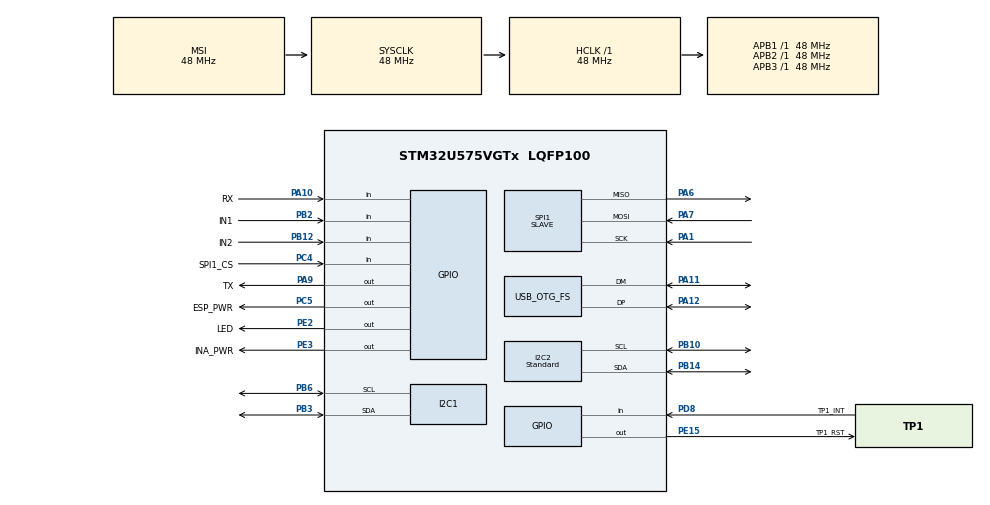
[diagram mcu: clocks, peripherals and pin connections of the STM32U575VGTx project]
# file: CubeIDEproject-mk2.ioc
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CORTEX_M33_NS.userName=CORTEX_M33
I2C1.Timing=0x20303E5D
I2C2.Analog_Filter=I2C_ANALOGFILTER_ENABLE
I2C2.I2C_Speed_Mode=I2C_Standard
I2C2.Timing=0x20303E5D
Mcu.Family=STM32U5
Mcu.Name=STM32U575VGTx
Mcu.Package=LQFP100
NVIC.OTG_FS_IRQn=true\:0\:0\:false\:false\:true\:true\:true\:true
NVIC.PriorityGroup=NVIC_PRIORITYGROUP_4
PA1.GPIO_Speed=GPIO_SPEED_FREQ_HIGH
PA1.Mode=Full_Duplex_Slave
PA1.Signal=SPI1_SCK
PA10.GPIO_Label=RX
PA10.GPIO_PuPd=GPIO_PULLDOWN
PA10.Signal=GPIO_Input
PA11.Mode=Device_Only
PA11.Signal=USB_OTG_FS_DM
PA12.Mode=Device_Only
PA12.Signal=USB_OTG_FS_DP
PA6.GPIO_Speed=GPIO_SPEED_FREQ_HIGH
PA6.Mode=Full_Duplex_Slave
PA6.Signal=SPI1_MISO
PA7.GPIO_Speed=GPIO_SPEED_FREQ_HIGH
PA7.Mode=Full_Duplex_Slave
PA7.Signal=SPI1_MOSI
PA9.GPIO_Label=TX
PA9.Signal=GPIO_Output
PB10.Mode=I2C
PB10.Signal=I2C2_SCL
PB12.GPIO_Label=IN2
PB12.GPIO_PuPd=GPIO_PULLUP
PB12.Signal=GPIO_Input
PB14.Mode=I2C
PB14.Signal=I2C2_SDA
PB2.GPIO_Label=IN1
PB2.GPIO_PuPd=GPIO_PULLUP
PB2.Signal=GPIO_Input
PB3\ (JTDO/TRACESWO).Mode=I2C
PB3\ (JTDO/TRACESWO).Signal=I2C1_SDA
PB6.Mode=I2C
PB6.Signal=I2C1_SCL
PC4.GPIO_Label=SPI1_CS
PC4.Signal=GPIO_Input
PC5.GPIO_Label=ESP_PWR
PC5.PinState=GPIO_PIN_RESET
PC5.Signal=GPIO_Output
PD8.GPIO_Label=TP1_INT
PD8.Signal=GPIO_Input
PE15.GPIO_Label=TP1_RST
PE15.PinState=GPIO_PIN_RESET
PE15.Signal=GPIO_Output
PE2.GPIO_Label=LED
PE2.Signal=GPIO_Output
PE3.GPIO_Label=INA_PWR
PE3.PinState=GPIO_PIN_SET
PE3.Signal=GPIO_Output
PH0-OSC_IN\ (PH0).Mode=HSE-External-Oscillator
PH0-OSC_IN\ (PH0).Signal=RCC_OSC_IN
PH1-OSC_OUT\ (PH1).Mode=HSE-External-Oscillator
PH1-OSC_OUT\ (PH1).Signal=RCC_OSC_OUT
ProjectManager.HeapSize=0x300
ProjectManager.StackSize=0x500
ProjectManager.TargetToolchain=STM32CubeIDE
RCC.ADCFreq_Value=16000000
RCC.AHBFreq_Value=48000000
RCC.APB1Freq_Value=48000000
RCC.APB1TimFreq_Value=48000000
RCC.APB2Freq_Value=48000000
RCC.APB2TimFreq_Value=48000000
RCC.APB3Freq_Value=48000000
RCC.CortexFreq_Value=48000000
RCC.EPOD_VALUE=12000000
RCC.HCLKFreq_Value=48000000
RCC.HSE_VALUE=12000000
RCC.HSI48_VALUE=48000000
RCC.HSI_VALUE=16000000
RCC.LPTIM1CLockSelectionVirtual=RCC_LPTIM1CLKSOURCE_LSI
RCC.LSE_VALUE=32768
RCC.LSIDIV=RCC_LSI_DIV128
RCC.LSIDIV_VALUE=250
RCC.MSIClockRange=RCC_MSIRANGE_0
RCC.MSI_VALUE=48000000
RCC.PLL1R=66
RCC.PLL2FRACN=0
RCC.PLL3FRACN=0
RCC.PLLFRACN=0
RCC.PLLN=11
RCC.PLLSourceVirtual=RCC_PLLSOURCE_HSE
RCC.SYSCLKFreq_VALUE=48000000
RCC.USBFreq_Value=48000000
RCC.VCOOutputFreq_Value=132000000
SPI1.CRCCalculation=SPI_CRCCALCULATION_DISABLE
SPI1.DataSize=SPI_DATASIZE_8BIT
SPI1.Direction=SPI_DIRECTION_2LINES
SPI1.Mode=SPI_MODE_SLAVE
SPI1.VirtualType=VM_SLAVE
USBX.BSP.number=1
USBX.Core_System=1
USBX.USBD_CDCACM_EPIN_ADDR=2
USBX.USBD_CDCACM_EPOUT_ADDR=3
USBX.USBX_DEVICE_SYS_SIZE=1024*10
USBX.UX_DEVICE_APP_MEM_POOL_SIZE_STANDALONE=1024*10
USBX.UX_DEVICE_CDC_ACM=1
USBX.UX_Device_Controller=1
USBX.UX_Device_CoreStack=1
USBX0.BSP.STBoard=false
USBX0.BSP.api=Unknown
USBX0.BSP.condition=SEMAOoUSBOoOTGOoFSOoDEVICEOoFOROoUSBX & \!DIE455
USBX0.BSP.instance=USB_OTG_FS
USBX0.BSP.ip=USB_OTG_FS
USBX0.BSP.mode=Device_Only
USBX0.BSP.name=USBDevice
USBX0.BSP.solution=USB_OTG_FS
USB_OTG_FS.VirtualMode=Device_Only
VP_ICACHE_VS_ICACHE.Mode=DirectMappedCache
VP_LPBAMQUEUE_VS_QUEUE.Mode=QUEUEMODE
VP_LPBAM_VS_SIG1.Mode=SmartRun
VP_LPBAM_VS_SIG4.Mode=LPDMA1
VP_MEMORYMAP_VS_MEMORYMAP.Mode=CurAppReg
VP_PWR_VS_SECSignals.Mode=Security/Privilege
VP_RCC_USB.Mode=CRS SYNC Source USB
VP_USBX_Core_System.Mode=Core_System
VP_USBX_UX\ Device\ CDC\ ACM\ Class_FS.Mode=UX_Device_class_CDC_ACM_FS
VP_USBX_UX\ Device\ Controller_FS.Mode=UX_Device_Controller_FS
VP_USBX_UX\ Device\ CoreStack_FS.Mode=UX_Device_CoreStack_FS
board=custom

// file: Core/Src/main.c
/* USER CODE BEGIN Header */
/**
  ******************************************************************************
  * @file           : main.c
  * @brief          : Main program body
  ******************************************************************************
  * @attention
  *
  * Copyright (c) 2026 STMicroelectronics.
  * All rights reserved.
  *
  * This software is licensed under terms that can be found in the LICENSE file
  * in the root directory of this software component.
  * If no LICENSE file comes with this software, it is provided AS-IS.
  *
  ******************************************************************************
  */
/* USER CODE END Header */
#include "main.h"
#include "app_usbx_device.h"

/* USER CODE BEGIN Includes */
#include "stdbool.h"
#include "string.h"
#include "INA226.h"
#include "CSE_CST328.h"
#include "stdarg.h"
/* USER CODE END Includes */

/* USER CODE BEGIN PTD */
typedef struct {
    GPIO_TypeDef *port;
    uint16_t pin;
} io;
/* USER CODE END PTD */

/* USER CODE BEGIN PD */

// IO States
#define OFF 0
#define ON  1

// Pins
#define TX 			(io){GPIOA, TX_Pin}
#define RX 			(io){GPIOA, RX_Pin}
#define LED 		(io){GPIOE, GPIO_PIN_2}
#define ESP_PWR 	(io){GPIOC, GPIO_PIN_5}
#define INA_PWR		(io){GPIOE, GPIO_PIN_3}
#define ON_OFF		(io){GPIOB, IN2_Pin}
#define TP1_RST		(io){GPIOE, GPIO_PIN_15}

// Clock States
#define MHz48 1
#define lwPWR 2

// Others
#define wake_pause  1000

#define MAX(a, b) (((a) > (b)) ? (a) : (b))

/* USER CODE END PD */

I2C_HandleTypeDef hi2c1;
I2C_HandleTypeDef hi2c2;

SPI_HandleTypeDef hspi1;

PCD_HandleTypeDef hpcd_USB_OTG_FS;

/* USER CODE BEGIN PV */
bool esp_on = false;
uint32_t esp_on_ticks = 0;
uint8_t update = 0;
uint32_t last_printed_tick = 0;
uint8_t clock_state;
uint32_t last_update_tick;

// USB
#define BUFFER_SIZE 512
char buffer[BUFFER_SIZE];
uint32_t received = 0;
uint32_t sent = 0;

// Touch
CST328_HandleTypeDef touch;

// SPI
uint8_t tx_buf[5] = "HELLO";
uint8_t rx_buf[5];
/* USER CODE END PV */

void SystemClock_Config(void);
static void MX_GPIO_Init(void);
static void MX_ICACHE_Init(void);
static void MX_I2C1_Init(void);
static void MX_USB_OTG_FS_PCD_Init(void);
static void MX_SPI1_Init(void);
static void MX_I2C2_Init(void);
/* USER CODE BEGIN PFP */
void SystemClock_ConfigUSB(void);

void write_io(io pin, int state) {
	HAL_GPIO_WritePin(pin.port, pin.pin, state);
}

int read_io(io pin) {
	return HAL_GPIO_ReadPin(pin.port, pin.pin);
}

void print(char* text, ...) {
	ux_device_stack_tasks_run();
	char buffer[1024];
	va_list args;
	va_start(args, text);
	vsnprintf(buffer, sizeof(buffer), text, args);
	va_end(args);
	if (clock_state == lwPWR) {
		SystemClock_ConfigUSB();
	}
	int len = strlen(buffer);
	int offset = 0;
	while (offset < len) {
		int chunk_size = (len - offset > 8) ? 8 : (len - offset);
		USBD_CDC_ACM_Transmit((uint8_t*)buffer + offset, chunk_size, &sent);
		offset += chunk_size;
		ux_device_stack_tasks_run();
	}
	if (clock_state == lwPWR) {
		SystemClock_Config();
	}
}

int current_ua() {
	return INA226_getShuntV(&hi2c1, INA226_ADDRESS) * 50;
}

int current_ma() {
	return (int)(current_ua() / 1000);
}

int voltage_mv() {
	return (int)(INA226_getBusV(&hi2c1, INA226_ADDRESS));
}
/* USER CODE END PFP */

int main(void)
{

  /* MCU Configuration--------------------------------------------------------*/

  /* Reset of all peripherals, Initializes the Flash interface and the Systick. */
  HAL_Init();

  /* Configure the system clock */
  SystemClock_Config();

  /* USER CODE BEGIN SysInit */
  clock_state = lwPWR;
  /* USER CODE END SysInit */

  /* Initialize all configured peripherals */
  MX_GPIO_Init();
  MX_ICACHE_Init();
  MX_I2C1_Init();
  MX_USBX_Device_Init();
  MX_SPI1_Init();
  MX_I2C2_Init();
  /* USER CODE BEGIN 2 */
  INA226_setConfig(&hi2c1, INA226_ADDRESS, INA226_MODE_CONT_SHUNT_AND_BUS | INA226_VBUS_140uS | INA226_VBUS_140uS | INA226_AVG_1024);
  SystemClock_ConfigUSB();
  clock_state = MHz48;

  MX_USB_OTG_FS_PCD_Init();

  write_io(ESP_PWR, OFF);
  write_io(LED, OFF);
  write_io(INA_PWR, ON);
  write_io(TP1_RST, ON);

  CST328_InitHandle(&touch, &hi2c2, 240, 320);
  touch.rst_port = GPIOE;
  touch.rst_pin = GPIO_PIN_15;

  uint32_t start = HAL_GetTick();
  while (HAL_GetTick() < start + 1500) {
	  if (HAL_GetTick()%10 == 0 && last_printed_tick != HAL_GetTick()) {
		  sprintf((char*)buffer, "Current: %d\n", current_ua());
		  print(buffer);
		  last_printed_tick = HAL_GetTick();
	  }
  }

  //SystemClock_Config();
  //clock_state = lwPWR;
  write_io(INA_PWR, ON);

  last_update_tick = HAL_GetTick() - 295000;

  /* USER CODE END 2 */

  /* Infinite loop */
  /* USER CODE BEGIN WHILE */
  while (1) {
	  ux_device_stack_tasks_run();
	  if (esp_on && !update) {
		HAL_SPI_TransmitReceive(
			&hspi1,
			tx_buf,
			rx_buf,
			5,
			3
		);
	  }
	  if (esp_on) {
	      CST328_ReadData(&touch);
		  if (touch.touchPoints[0].state) {
			  print("X: %03d Y: %03d\n", touch.touchPoints[0].x, touch.touchPoints[0].y);
			  tx_buf[0] = 255;
			  tx_buf[1] = touch.touchPoints[0].x % 256;
			  tx_buf[2] = touch.touchPoints[0].x-256 > 255;
			  tx_buf[3] = touch.touchPoints[0].y % 256;
			  tx_buf[4] = touch.touchPoints[0].y > 255;
		  } else {
			  tx_buf[0] = 0;
		  }

	  }

	  if (HAL_GetTick() >= last_printed_tick + 500) {
		  print("Current: %d µA\nVoltage: %d mV\nTime Diff: %lums\n\n", current_ua(), voltage_mv(), HAL_GetTick() - last_printed_tick);
		  last_printed_tick += 500;
	  }
	  // TURN OFF ESP32 - if ESP32 sends turn_off signal, turn it off.
	  if(read_io(RX)) {
		  print("rxing\n");
		  HAL_Delay(10); 							// Pause to see if it was accidental
		  if (read_io(RX)) {						// Re-check to see if it is still on
			  if (HAL_GetTick() < esp_on_ticks + 100) {
				  write_io(ESP_PWR, OFF);
				  HAL_Delay(10);
				  write_io(ESP_PWR, ON);
				  HAL_Delay(wake_pause);
				  esp_on_ticks = HAL_GetTick();
			  } else {
				  write_io(ESP_PWR, OFF);			// Shut it off
				  write_io(LED, OFF);				// Turn off LED
				  write_io(TX, OFF);				// Stop telling the ESP32 to shut off
				  esp_on = false;					// Register the ESP32 is now off
				  HAL_Delay(10);
			  }
		  }
	  }

	  // TURN ON/OFF ESP32
	  if(!read_io(ON_OFF)) {
		  print("ON/OFF\n");
		  if (esp_on && update) {
			  write_io(ESP_PWR, OFF);
			  esp_on = false;
			  HAL_Delay(50);
		  }
		  if (!esp_on) {
			  write_io(ESP_PWR, ON);				// Turn on ESP32 Regulator
			  write_io(TX, OFF);					// Stop telling the ESP32 to shut off
			  HAL_Delay(wake_pause);				// Wait for ESP32 to initialize, avoid turning it back off
			  esp_on = true;
			  esp_on_ticks = HAL_GetTick();
			  update = 0;
			  for (uint16_t i = 0; i < 128; i++) {
			      if (HAL_I2C_IsDeviceReady(&hi2c2, (i << 1), 3, 5) == HAL_OK) {
			          print("Device found at 0x%02X\n", i);
			      }
			  }
		  } else {
			  // If ESP32 is on, send it the signal to turn off.
			  write_io(TX, ON);						// Send off signal to ESP32
			  write_io(LED, ON);					// Turn on LED
		  }
	  }

	  if (HAL_GetTick() > last_update_tick + 300000) {
		  if (!esp_on) {
			  print("LOGGING!\n");
			  write_io(ESP_PWR, ON);					// Turn on ESP32 Regulator
			  write_io(TX, ON);							// Tell ESP32 to Track
			  HAL_Delay(wake_pause);					// Wait for ESP32 to initialize, avoid turning it back off
			  esp_on = true;
			  esp_on_ticks = HAL_GetTick();
			  update = 1;
			  last_update_tick += 300000;
		  } else {
			  last_update_tick += 300000;
		  }
	  }

	  if (esp_on && esp_on_ticks + 90000 < HAL_GetTick() && update) {
		  print("ESP Update Timeout. Rebooting...\n");
		  write_io(ESP_PWR, OFF);				// Shut it off
		  write_io(LED, ON);					// Turn on LED
		  write_io(TX, ON);						// Tell ESP32 to Track
		  HAL_Delay(1000);
		  write_io(ESP_PWR, ON);
		  HAL_Delay(wake_pause);
		  esp_on_ticks = HAL_GetTick();
	  }

	  if (voltage_mv() < 3200) {
		  print("SHUTING DOWN: %d mV\n", voltage_mv());
		  write_io(LED, ON);					// Turn on LED

		  if (update) {
			  write_io(ESP_PWR, OFF);		// Turn of ESP32
			  write_io(TX, OFF);			// Stop Telling it to update/shut down
			  HAL_Delay(100);				// Wait for it to turn off
			  write_io(ESP_PWR, ON);		// Turn it on
			  HAL_Delay(wake_pause+5000);	// Pause for it to boot
		  }

		  // Enter standby
		  write_io(TX, ON);						// Send off signal to ESP32
		  write_io(INA_PWR, OFF);

		  HAL_Delay(15000);

		  write_io(ESP_PWR, OFF);
		  write_io(LED, OFF);
		  HAL_PWR_EnterSTANDBYMode();
		}
    /* USER CODE END WHILE */

  }
}

void SystemClock_Config(void)
{
  RCC_OscInitTypeDef RCC_OscInitStruct = {0};
  RCC_ClkInitTypeDef RCC_ClkInitStruct = {0};
  RCC_CRSInitTypeDef RCC_CRSInitStruct = {0};

  /** Configure the main internal regulator output voltage
  */
  if (HAL_PWREx_ControlVoltageScaling(PWR_REGULATOR_VOLTAGE_SCALE3) != HAL_OK)
  {
    Error_Handler();
  }

  /** Initializes the CPU, AHB and APB buses clocks
  */
  RCC_OscInitStruct.OscillatorType = RCC_OSCILLATORTYPE_HSI48|RCC_OSCILLATORTYPE_MSI;
  RCC_OscInitStruct.HSI48State = RCC_HSI48_ON;
  RCC_OscInitStruct.MSIState = RCC_MSI_ON;
  RCC_OscInitStruct.MSICalibrationValue = RCC_MSICALIBRATION_DEFAULT;
  RCC_OscInitStruct.MSIClockRange = RCC_MSIRANGE_0;
  RCC_OscInitStruct.PLL.PLLState = RCC_PLL_NONE;
  if (HAL_RCC_OscConfig(&RCC_OscInitStruct) != HAL_OK)
  {
    Error_Handler();
  }

  /** Initializes the CPU, AHB and APB buses clocks
  */
  RCC_ClkInitStruct.ClockType = RCC_CLOCKTYPE_HCLK|RCC_CLOCKTYPE_SYSCLK
                              |RCC_CLOCKTYPE_PCLK1|RCC_CLOCKTYPE_PCLK2
                              |RCC_CLOCKTYPE_PCLK3;
  RCC_ClkInitStruct.SYSCLKSource = RCC_SYSCLKSOURCE_MSI;
  RCC_ClkInitStruct.AHBCLKDivider = RCC_SYSCLK_DIV1;
  RCC_ClkInitStruct.APB1CLKDivider = RCC_HCLK_DIV1;
  RCC_ClkInitStruct.APB2CLKDivider = RCC_HCLK_DIV1;
  RCC_ClkInitStruct.APB3CLKDivider = RCC_HCLK_DIV1;

  if (HAL_RCC_ClockConfig(&RCC_ClkInitStruct, FLASH_LATENCY_1) != HAL_OK)
  {
    Error_Handler();
  }

  /** Enable the SYSCFG APB clock
  */
  __HAL_RCC_CRS_CLK_ENABLE();

  /** Configures CRS
  */
  RCC_CRSInitStruct.Prescaler = RCC_CRS_SYNC_DIV1;
  RCC_CRSInitStruct.Source = RCC_CRS_SYNC_SOURCE_USB;
  RCC_CRSInitStruct.Polarity = RCC_CRS_SYNC_POLARITY_RISING;
  RCC_CRSInitStruct.ReloadValue = __HAL_RCC_CRS_RELOADVALUE_CALCULATE(48000000,1000);
  RCC_CRSInitStruct.ErrorLimitValue = 34;
  RCC_CRSInitStruct.HSI48CalibrationValue = 32;

  HAL_RCCEx_CRSConfig(&RCC_CRSInitStruct);
}

static void MX_I2C1_Init(void)
{

  hi2c1.Instance = I2C1;
  hi2c1.Init.Timing = 0x20303E5D;
  hi2c1.Init.OwnAddress1 = 0;
  hi2c1.Init.AddressingMode = I2C_ADDRESSINGMODE_7BIT;
  hi2c1.Init.DualAddressMode = I2C_DUALADDRESS_DISABLE;
  hi2c1.Init.OwnAddress2 = 0;
  hi2c1.Init.OwnAddress2Masks = I2C_OA2_NOMASK;
  hi2c1.Init.GeneralCallMode = I2C_GENERALCALL_DISABLE;
  hi2c1.Init.NoStretchMode = I2C_NOSTRETCH_DISABLE;
  if (HAL_I2C_Init(&hi2c1) != HAL_OK)
  {
    Error_Handler();
  }

  /** Configure Analogue filter
  */
  if (HAL_I2CEx_ConfigAnalogFilter(&hi2c1, I2C_ANALOGFILTER_ENABLE) != HAL_OK)
  {
    Error_Handler();
  }

  /** Configure Digital filter
  */
  if (HAL_I2CEx_ConfigDigitalFilter(&hi2c1, 0) != HAL_OK)
  {
    Error_Handler();
  }

}

static void MX_I2C2_Init(void)
{

  hi2c2.Instance = I2C2;
  hi2c2.Init.Timing = 0x20303E5D;
  hi2c2.Init.OwnAddress1 = 0;
  hi2c2.Init.AddressingMode = I2C_ADDRESSINGMODE_7BIT;
  hi2c2.Init.DualAddressMode = I2C_DUALADDRESS_DISABLE;
  hi2c2.Init.OwnAddress2 = 0;
  hi2c2.Init.OwnAddress2Masks = I2C_OA2_NOMASK;
  hi2c2.Init.GeneralCallMode = I2C_GENERALCALL_DISABLE;
  hi2c2.Init.NoStretchMode = I2C_NOSTRETCH_DISABLE;
  if (HAL_I2C_Init(&hi2c2) != HAL_OK)
  {
    Error_Handler();
  }

  /** Configure Analogue filter
  */
  if (HAL_I2CEx_ConfigAnalogFilter(&hi2c2, I2C_ANALOGFILTER_ENABLE) != HAL_OK)
  {
    Error_Handler();
  }

  /** Configure Digital filter
  */
  if (HAL_I2CEx_ConfigDigitalFilter(&hi2c2, 0) != HAL_OK)
  {
    Error_Handler();
  }

}

static void MX_ICACHE_Init(void)
{

  /** Enable instruction cache in 1-way (direct mapped cache)
  */
  if (HAL_ICACHE_ConfigAssociativityMode(ICACHE_1WAY) != HAL_OK)
  {
    Error_Handler();
  }
  if (HAL_ICACHE_Enable() != HAL_OK)
  {
    Error_Handler();
  }

}

static void MX_SPI1_Init(void)
{

  SPI_AutonomousModeConfTypeDef HAL_SPI_AutonomousMode_Cfg_Struct = {0};

  /* SPI1 parameter configuration*/
  hspi1.Instance = SPI1;
  hspi1.Init.Mode = SPI_MODE_SLAVE;
  hspi1.Init.Direction = SPI_DIRECTION_2LINES;
  hspi1.Init.DataSize = SPI_DATASIZE_8BIT;
  hspi1.Init.CLKPolarity = SPI_POLARITY_LOW;
  hspi1.Init.CLKPhase = SPI_PHASE_1EDGE;
  hspi1.Init.NSS = SPI_NSS_SOFT;
  hspi1.Init.FirstBit = SPI_FIRSTBIT_MSB;
  hspi1.Init.TIMode = SPI_TIMODE_DISABLE;
  hspi1.Init.CRCCalculation = SPI_CRCCALCULATION_DISABLE;
  hspi1.Init.CRCPolynomial = 0x7;
  hspi1.Init.NSSPMode = SPI_NSS_PULSE_DISABLE;
  hspi1.Init.NSSPolarity = SPI_NSS_POLARITY_LOW;
  hspi1.Init.FifoThreshold = SPI_FIFO_THRESHOLD_01DATA;
  hspi1.Init.MasterSSIdleness = SPI_MASTER_SS_IDLENESS_00CYCLE;
  hspi1.Init.MasterInterDataIdleness = SPI_MASTER_INTERDATA_IDLENESS_00CYCLE;
  hspi1.Init.MasterReceiverAutoSusp = SPI_MASTER_RX_AUTOSUSP_DISABLE;
  hspi1.Init.MasterKeepIOState = SPI_MASTER_KEEP_IO_STATE_DISABLE;
  hspi1.Init.IOSwap = SPI_IO_SWAP_DISABLE;
  hspi1.Init.ReadyMasterManagement = SPI_RDY_MASTER_MANAGEMENT_INTERNALLY;
  hspi1.Init.ReadyPolarity = SPI_RDY_POLARITY_HIGH;
  if (HAL_SPI_Init(&hspi1) != HAL_OK)
  {
    Error_Handler();
  }
  HAL_SPI_AutonomousMode_Cfg_Struct.TriggerState = SPI_AUTO_MODE_DISABLE;
  HAL_SPI_AutonomousMode_Cfg_Struct.TriggerSelection = SPI_GRP1_GPDMA_CH0_TCF_TRG;
  HAL_SPI_AutonomousMode_Cfg_Struct.TriggerPolarity = SPI_TRIG_POLARITY_RISING;
  if (HAL_SPIEx_SetConfigAutonomousMode(&hspi1, &HAL_SPI_AutonomousMode_Cfg_Struct) != HAL_OK)
  {
    Error_Handler();
  }

}

static void MX_USB_OTG_FS_PCD_Init(void)
{

  hpcd_USB_OTG_FS.Instance = USB_OTG_FS;
  hpcd_USB_OTG_FS.Init.dev_endpoints = 6;
  hpcd_USB_OTG_FS.Init.speed = PCD_SPEED_FULL;
  hpcd_USB_OTG_FS.Init.phy_itface = PCD_PHY_EMBEDDED;
  hpcd_USB_OTG_FS.Init.Sof_enable = DISABLE;
  hpcd_USB_OTG_FS.Init.low_power_enable = DISABLE;
  hpcd_USB_OTG_FS.Init.lpm_enable = DISABLE;
  hpcd_USB_OTG_FS.Init.battery_charging_enable = DISABLE;
  hpcd_USB_OTG_FS.Init.use_dedicated_ep1 = DISABLE;
  hpcd_USB_OTG_FS.Init.vbus_sensing_enable = DISABLE;
  hpcd_USB_OTG_FS.Init.dma_enable = DISABLE;
  if (HAL_PCD_Init(&hpcd_USB_OTG_FS) != HAL_OK)
  {
    Error_Handler();
  }
  /* USER CODE BEGIN USB_OTG_FS_Init 2 */
  HAL_PCDEx_SetRxFiFo(&hpcd_USB_OTG_FS, 0x80);
  HAL_PCDEx_SetTxFiFo(&hpcd_USB_OTG_FS, 0, USBD_MAX_EP0_SIZE / 4);
  HAL_PCDEx_SetTxFiFo(&hpcd_USB_OTG_FS, 1, USBD_CDCACM_EPIN_FS_MPS / 4);
  HAL_PCDEx_SetTxFiFo(&hpcd_USB_OTG_FS, 2, USBD_CDCACM_EPINCMD_FS_MPS / 4);

  _ux_dcd_stm32_initialize((ULONG)NULL, (ULONG)&hpcd_USB_OTG_FS);

  HAL_PCD_Start(&hpcd_USB_OTG_FS);
  /* USER CODE END USB_OTG_FS_Init 2 */

}

static void MX_GPIO_Init(void)
{
  GPIO_InitTypeDef GPIO_InitStruct = {0};

  /* GPIO Ports Clock Enable */
  __HAL_RCC_GPIOE_CLK_ENABLE();
  __HAL_RCC_GPIOH_CLK_ENABLE();
  __HAL_RCC_GPIOA_CLK_ENABLE();
  __HAL_RCC_GPIOC_CLK_ENABLE();
  __HAL_RCC_GPIOB_CLK_ENABLE();
  __HAL_RCC_GPIOD_CLK_ENABLE();

  /*Configure GPIO pin Output Level */
  HAL_GPIO_WritePin(GPIOE, LED_Pin|TP1_RST_Pin, GPIO_PIN_RESET);

  /*Configure GPIO pin Output Level */
  HAL_GPIO_WritePin(INA_PWR_GPIO_Port, INA_PWR_Pin, GPIO_PIN_SET);

  /*Configure GPIO pin Output Level */
  HAL_GPIO_WritePin(ESP_PWR_GPIO_Port, ESP_PWR_Pin, GPIO_PIN_RESET);

  /*Configure GPIO pin Output Level */
  HAL_GPIO_WritePin(TX_GPIO_Port, TX_Pin, GPIO_PIN_RESET);

  /*Configure GPIO pins : LED_Pin INA_PWR_Pin TP1_RST_Pin */
  GPIO_InitStruct.Pin = LED_Pin|INA_PWR_Pin|TP1_RST_Pin;
  GPIO_InitStruct.Mode = GPIO_MODE_OUTPUT_PP;
  GPIO_InitStruct.Pull = GPIO_NOPULL;
  GPIO_InitStruct.Speed = GPIO_SPEED_FREQ_LOW;
  HAL_GPIO_Init(GPIOE, &GPIO_InitStruct);

  /*Configure GPIO pin : SPI1_CS_Pin */
  GPIO_InitStruct.Pin = SPI1_CS_Pin;
  GPIO_InitStruct.Mode = GPIO_MODE_INPUT;
  GPIO_InitStruct.Pull = GPIO_NOPULL;
  HAL_GPIO_Init(SPI1_CS_GPIO_Port, &GPIO_InitStruct);

  /*Configure GPIO pin : ESP_PWR_Pin */
  GPIO_InitStruct.Pin = ESP_PWR_Pin;
  GPIO_InitStruct.Mode = GPIO_MODE_OUTPUT_PP;
  GPIO_InitStruct.Pull = GPIO_NOPULL;
  GPIO_InitStruct.Speed = GPIO_SPEED_FREQ_LOW;
  HAL_GPIO_Init(ESP_PWR_GPIO_Port, &GPIO_InitStruct);

  /*Configure GPIO pins : IN1_Pin IN2_Pin */
  GPIO_InitStruct.Pin = IN1_Pin|IN2_Pin;
  GPIO_InitStruct.Mode = GPIO_MODE_INPUT;
  GPIO_InitStruct.Pull = GPIO_PULLUP;
  HAL_GPIO_Init(GPIOB, &GPIO_InitStruct);

  /*Configure GPIO pin : TP1_INT_Pin */
  GPIO_InitStruct.Pin = TP1_INT_Pin;
  GPIO_InitStruct.Mode = GPIO_MODE_INPUT;
  GPIO_InitStruct.Pull = GPIO_NOPULL;
  HAL_GPIO_Init(TP1_INT_GPIO_Port, &GPIO_InitStruct);

  /*Configure GPIO pin : TX_Pin */
  GPIO_InitStruct.Pin = TX_Pin;
  GPIO_InitStruct.Mode = GPIO_MODE_OUTPUT_PP;
  GPIO_InitStruct.Pull = GPIO_NOPULL;
  GPIO_InitStruct.Speed = GPIO_SPEED_FREQ_LOW;
  HAL_GPIO_Init(TX_GPIO_Port, &GPIO_InitStruct);

  /*Configure GPIO pin : RX_Pin */
  GPIO_InitStruct.Pin = RX_Pin;
  GPIO_InitStruct.Mode = GPIO_MODE_INPUT;
  GPIO_InitStruct.Pull = GPIO_PULLDOWN;
  HAL_GPIO_Init(RX_GPIO_Port, &GPIO_InitStruct);

}

/* USER CODE BEGIN 4 */
void SystemClock_ConfigUSB(void)
{
  RCC_OscInitTypeDef RCC_OscInitStruct = {0};
  RCC_ClkInitTypeDef RCC_ClkInitStruct = {0};
  RCC_CRSInitTypeDef RCC_CRSInitStruct = {0};

  /** Configure the main internal regulator output voltage
  */
  if (HAL_PWREx_ControlVoltageScaling(PWR_REGULATOR_VOLTAGE_SCALE3) != HAL_OK)
  {
    Error_Handler();
  }

  /** Initializes the CPU, AHB and APB buses clocks
  */
  RCC_OscInitStruct.OscillatorType = RCC_OSCILLATORTYPE_HSI48|RCC_OSCILLATORTYPE_MSI;
  RCC_OscInitStruct.HSI48State = RCC_HSI48_ON;
  RCC_OscInitStruct.MSIState = RCC_MSI_ON;
  RCC_OscInitStruct.MSICalibrationValue = RCC_MSICALIBRATION_DEFAULT;
  RCC_OscInitStruct.MSIClockRange = RCC_MSIRANGE_0;
  RCC_OscInitStruct.PLL.PLLState = RCC_PLL_NONE;
  if (HAL_RCC_OscConfig(&RCC_OscInitStruct) != HAL_OK)
  {
    Error_Handler();
  }

  /** Initializes the CPU, AHB and APB buses clocks
  */
  RCC_ClkInitStruct.ClockType = RCC_CLOCKTYPE_HCLK|RCC_CLOCKTYPE_SYSCLK
                              |RCC_CLOCKTYPE_PCLK1|RCC_CLOCKTYPE_PCLK2
                              |RCC_CLOCKTYPE_PCLK3;
  RCC_ClkInitStruct.SYSCLKSource = RCC_SYSCLKSOURCE_MSI;
  RCC_ClkInitStruct.AHBCLKDivider = RCC_SYSCLK_DIV1;
  RCC_ClkInitStruct.APB1CLKDivider = RCC_HCLK_DIV1;
  RCC_ClkInitStruct.APB2CLKDivider = RCC_HCLK_DIV1;
  RCC_ClkInitStruct.APB3CLKDivider = RCC_HCLK_DIV1;

  if (HAL_RCC_ClockConfig(&RCC_ClkInitStruct, FLASH_LATENCY_1) != HAL_OK)
  {
    Error_Handler();
  }

  /** Enable the SYSCFG APB clock
  */
  __HAL_RCC_CRS_CLK_ENABLE();

  /** Configures CRS
  */
  RCC_CRSInitStruct.Prescaler = RCC_CRS_SYNC_DIV1;
  RCC_CRSInitStruct.Source = RCC_CRS_SYNC_SOURCE_USB;
  RCC_CRSInitStruct.Polarity = RCC_CRS_SYNC_POLARITY_RISING;
  RCC_CRSInitStruct.ReloadValue = __HAL_RCC_CRS_RELOADVALUE_CALCULATE(48000000,1000);
  RCC_CRSInitStruct.ErrorLimitValue = 34;
  RCC_CRSInitStruct.HSI48CalibrationValue = 32;

  HAL_RCCEx_CRSConfig(&RCC_CRSInitStruct);
}
/* USER CODE END 4 */

void Error_Handler(void)
{
  __disable_irq();
  while (1)
  {
  }
}
